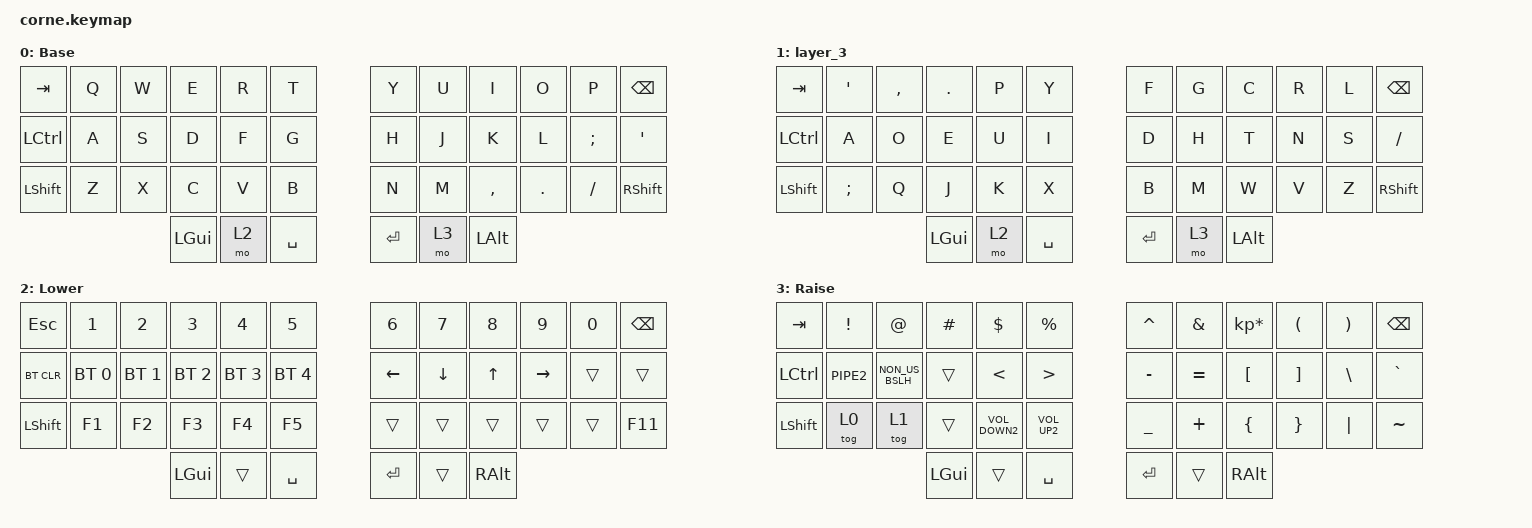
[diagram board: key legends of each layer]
/*
 * Copyright (c) 2020 The ZMK Contributors
 *
 * SPDX-License-Identifier: MIT
 */

#include <behaviors.dtsi>
#include <dt-bindings/zmk/bt.h>
#include <dt-bindings/zmk/keys.h>

/ {
    keymap {
        compatible = "zmk,keymap";

        default_layer {
            // -----------------------------------------------------------------------------------------
            // |  TAB |  Q  |  W  |  E  |  R  |  T  |   |  Y  |  U   |  I  |  O  |  P  | BKSP |
            // | CTRL |  A  |  S  |  D  |  F  |  G  |   |  H  |  J   |  K  |  L  |  ;  |  '   |
            // | SHFT |  Z  |  X  |  C  |  V  |  B  |   |  N  |  M   |  ,  |  .  |  /  | ESC  |
            //                    | GUI | LWR | SPC |   | ENT | RSE  | ALT |

            label = "Base";
            bindings = <
&kp TAB    &kp Q  &kp W  &kp E     &kp R  &kp T        &kp Y    &kp U  &kp I         &kp O    &kp P     &kp BSPC
&kp LCTRL  &kp A  &kp S  &kp D     &kp F  &kp G        &kp H    &kp J  &kp K         &kp L    &kp SEMI  &kp SQT
&kp LSHFT  &kp Z  &kp X  &kp C     &kp V  &kp B        &kp N    &kp M  &kp COMMA     &kp DOT  &kp FSLH  &kp RIGHT_SHIFT
                         &kp LGUI  &mo 2  &kp SPACE    &kp RET  &mo 3  &kp LEFT_ALT
            >;
        };

        layer_3 {
            bindings = <
&kp TAB    &kp APOS  &kp COMMA  &kp DOT   &kp P  &kp Y        &kp F      &kp G  &kp C     &kp R  &kp L  &kp BSPC
&kp LCTRL  &kp A     &kp O      &kp E     &kp U  &kp I        &kp D      &kp H  &kp T     &kp N  &kp S  &kp SLASH
&kp LSHFT  &kp SEMI  &kp Q      &kp J     &kp K  &kp X        &kp B      &kp M  &kp W     &kp V  &kp Z  &kp RSHFT
                                &kp LGUI  &mo 2  &kp SPACE    &kp ENTER  &mo 3  &kp LALT
            >;
        };

        lower_layer {
            // -----------------------------------------------------------------------------------------
            // |  TAB |  1  |  2  |  3  |  4  |  5  |   |  6  |  7  |  8  |  9  |  0  | BKSP |
            // | BTCLR| BT1 | BT2 | BT3 | BT4 | BT5 |   | LFT | DWN |  UP | RGT |     |      |
            // | SHFT |     |     |     |     |     |   |     |     |     |     |     |      |
            //                    | GUI |     | SPC |   | ENT |     | ALT |

            label = "Lower";
            bindings = <
&kp ESCAPE  &kp N1        &kp N2        &kp N3        &kp N4        &kp N5          &kp N6    &kp N7    &kp N8    &kp N9     &kp N0  &kp BSPC
&bt BT_CLR  &bt BT_SEL 0  &bt BT_SEL 1  &bt BT_SEL 2  &bt BT_SEL 3  &bt BT_SEL 4    &kp LEFT  &kp DOWN  &kp UP    &kp RIGHT  &trans  &trans
&kp LSHFT   &kp F1        &kp F2        &kp F3        &kp F4        &kp F5          &trans    &trans    &trans    &trans     &trans  &kp F11
                                        &kp LGUI      &trans        &kp SPACE       &kp RET   &trans    &kp RALT
            >;
        };

        raise_layer {
            // -----------------------------------------------------------------------------------------
            // |  TAB |  !  |  @  |  #  |  $  |  %  |   |  ^  |  &  |  *  |  (  |  )  | BKSP |
            // | CTRL |     |     |     |     |     |   |  -  |  =  |  [  |  ]  |  \  |  `   |
            // | SHFT |     |     |     |     |     |   |  _  |  +  |  {  |  }  | "|" |  ~   |
            //                    | GUI |     | SPC |   | ENT |     | ALT |

            label = "Raise";
            bindings = <
&kp TAB    &kp EXCL   &kp AT           &kp HASH  &kp DLLR            &kp PRCNT           &kp CARET  &kp AMPS   &kp KP_MULTIPLY  &kp LPAR  &kp RPAR  &kp BSPC
&kp LCTRL  &kp PIPE2  &kp NON_US_BSLH  &trans    &kp LESS_THAN       &kp GREATER_THAN    &kp MINUS  &kp EQUAL  &kp LBKT         &kp RBKT  &kp BSLH  &kp GRAVE
&kp LSHFT  &tog 0     &tog 1           &trans    &kp K_VOLUME_DOWN2  &kp K_VOL_UP2       &kp UNDER  &kp PLUS   &kp LBRC         &kp RBRC  &kp PIPE  &kp TILDE
                                       &kp LGUI  &trans              &kp SPACE           &kp RET    &trans     &kp RALT
            >;
        };
    };
};
